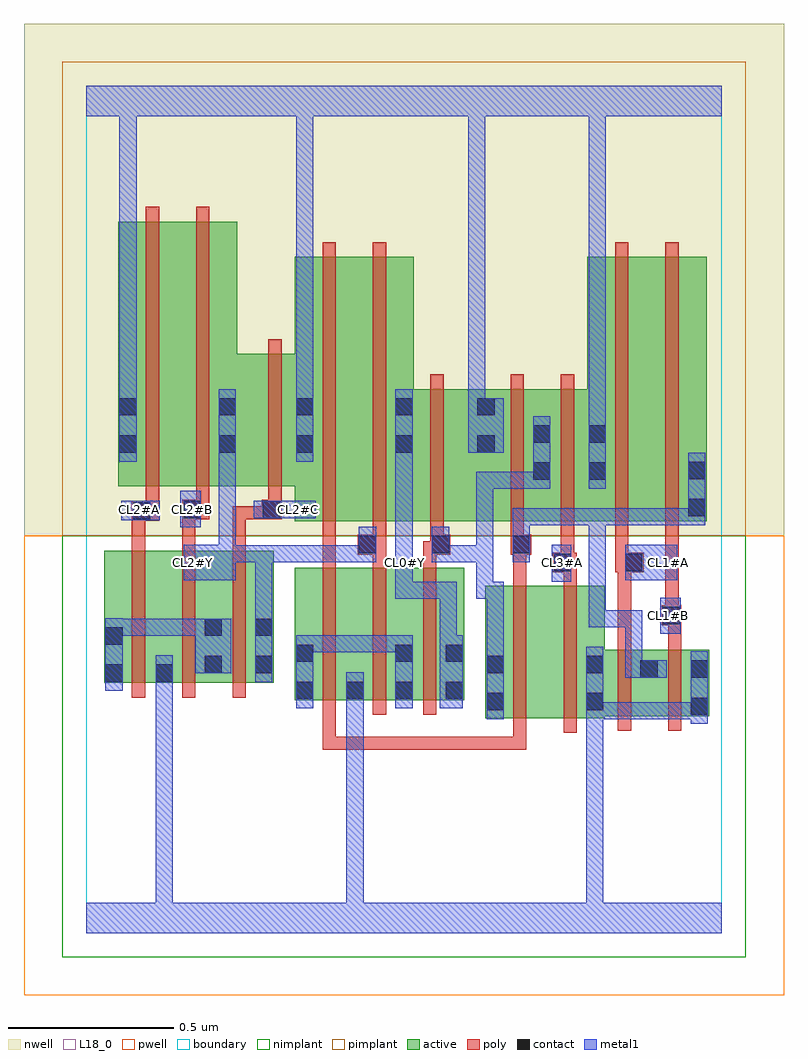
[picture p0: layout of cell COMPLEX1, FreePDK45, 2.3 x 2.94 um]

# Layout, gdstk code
import gdstk
lib = gdstk.Library(unit=1e-6, precision=1e-09)
def R(c, l, rs):  # rectangles x0, y0, x1, y1
    for r in rs: c.add(gdstk.rectangle(r[:2], r[2:], *l))
def A(c, l, x, y, w, h, nx, ny, dx, dy):  # array of equal rectangles
    R(c, l, [(x+i*dx, y+j*dy, x+i*dx+w, y+j*dy+h) for i in range(nx) for j in range(ny)])
active = (1, 0)
pwell = (2, 0)
nwell = (3, 0)
nimplant = (4, 0)
pimplant = (5, 0)
poly = (9, 0)
contact = (10, 0)
metal1 = (11, 0)
L18_0 = (18, 0)
boundary = (235, 0)

complex1 = lib.new_cell('COMPLEX1')
R(complex1, active, [(1.206,0.65,1.386,1.05), (1.206,0.65,1.266,1.05), (1.386,0.65,1.566,1.05), (1.506,0.656,1.73,0.856), (1.67,0.656,1.73,0.856), (1.67,0.656,1.882,0.856), (1.822,0.656,1.882,0.856), (1.506,0.67,1.566,0.856), (0.63,0.704,0.69,1.104), (0.63,0.704,0.842,1.104), (0.782,0.704,0.99,1.104), (0.782,0.704,0.842,0.764), (0.93,0.704,0.99,1.104), (0.93,0.704,1.142,1.104), (1.082,0.704,1.142,1.104), (0.054,0.756,0.114,1.156), (0.054,0.756,0.266,1.156), (0.206,0.756,0.414,1.156), (0.206,0.756,0.266,0.828), (0.354,0.756,0.414,1.156), (0.354,0.756,0.566,1.156), (0.506,0.756,0.566,1.156), (0.63,1.244,0.81,2.044), (0.81,1.244,0.99,2.044), (0.93,1.244,0.99,2.044), (0.93,1.244,1.238,1.644), (1.178,1.244,1.238,1.644), (1.178,1.244,1.406,1.644), (1.346,1.244,1.574,1.644), (1.514,1.244,1.574,2.044), (1.514,1.244,1.694,2.044), (1.694,1.244,1.874,2.044), (1.814,1.244,1.874,2.044), (0.096,1.35,0.156,2.15), (0.096,1.35,0.276,2.15), (0.276,1.35,0.456,2.15), (0.396,1.35,0.456,1.716), (0.396,1.35,0.69,1.75), (0.63,1.35,0.69,1.716), (1.346,1.366,1.406,1.644)])
R(complex1, pwell, [(-0.188,-0.188,2.108,1.2)])
R(complex1, nwell, [(-0.188,1.2,2.108,2.748)])
R(complex1, nimplant, [(-0.072,-0.072,1.992,1.2)])
R(complex1, pimplant, [(-0.072,1.2,1.992,2.632)])
A(complex1, poly, 0.714, 0.66, 0.04, 0.488, 3, 1, 0.152, 0)
A(complex1, poly, 0.138, 0.712, 0.04, 0.488, 3, 1, 0.152, 0)
A(complex1, poly, 0.714, 1.108, 0.04, 0.076, 3, 1, 0.152, 0)
R(complex1, poly, [(0.714,0.554,0.754,0.594), (0.714,0.554,0.754,0.594), (0.714,0.554,0.754,0.594), (0.714,0.554,0.86,0.594), (0.714,0.554,0.754,0.7), (0.82,0.554,0.86,0.594), (0.82,0.554,0.86,0.594), (0.82,0.554,0.86,0.594), (0.82,0.554,1.012,0.594), (0.972,0.554,1.012,0.594), (0.972,0.554,1.012,0.594), (0.972,0.554,1.012,0.594), (0.972,0.554,1.33,0.594), (1.29,0.554,1.33,0.594), (1.29,0.554,1.33,0.594), (1.29,0.554,1.33,0.594), (1.29,0.554,1.33,0.646), (1.29,0.606,1.33,1.094), (1.442,0.606,1.482,1.094), (1.606,0.612,1.646,0.9), (1.758,0.612,1.798,0.9), (1.606,0.86,1.646,1.13), (1.758,0.86,1.798,0.97), (1.738,0.93,1.798,0.99), (1.75,0.95,1.79,1.24), (1.75,0.95,1.79,0.99), (1.75,0.95,1.79,0.99), (1.29,1.054,1.33,1.184), (1.442,1.054,1.482,1.13), (1.41,1.09,1.482,1.15), (1.598,1.09,1.684,1.15), (1.606,1.09,1.646,1.13), (1.606,1.09,1.646,1.13), (1.434,1.11,1.474,1.15), (1.434,1.11,1.474,1.15), (1.434,1.11,1.474,1.24), (1.598,1.11,1.638,1.24), (0.714,1.144,0.754,1.184), (0.714,1.144,0.754,1.184), (0.714,1.144,0.754,1.184), (0.714,1.144,0.754,1.24), (0.82,1.144,0.906,1.204), (1.018,1.144,1.08,1.184), (1.04,1.144,1.08,1.184), (1.04,1.144,1.1,1.204), (1.282,1.144,1.344,1.204), (1.29,1.144,1.33,1.184), (1.29,1.144,1.33,1.184), (0.138,1.16,0.178,1.286), (0.29,1.16,0.33,1.29), (0.442,1.16,0.482,1.29), (0.866,1.164,0.906,1.204), (0.866,1.164,0.906,1.204), (0.866,1.164,0.906,1.24), (1.04,1.164,1.08,1.24), (1.282,1.164,1.322,1.24), (0.714,1.2,0.754,2.088), (0.866,1.2,0.906,2.088), (1.04,1.2,1.08,1.688), (1.282,1.2,1.322,1.688), (1.434,1.2,1.474,1.688), (1.598,1.2,1.638,2.088), (1.75,1.2,1.79,2.088), (0.138,1.246,0.178,1.286), (0.138,1.246,0.178,1.286), (0.138,1.246,0.22,1.306), (0.29,1.25,0.33,1.29), (0.29,1.25,0.33,1.29), (0.29,1.25,0.372,1.31), (0.442,1.25,0.57,1.29), (0.53,1.25,0.57,1.29), (0.53,1.25,0.59,1.31), (0.18,1.266,0.22,1.346), (0.332,1.27,0.372,1.346), (0.55,1.27,0.59,1.346), (0.18,1.306,0.22,2.194), (0.332,1.306,0.372,2.194), (0.55,1.306,0.59,1.794)])
R(complex1, contact, [(1.826,0.66,1.878,0.712), (1.21,0.674,1.262,0.726), (1.51,0.674,1.562,0.726), (0.634,0.708,0.686,0.76), (0.786,0.708,0.838,0.76), (0.934,0.708,0.986,0.76), (1.086,0.708,1.138,0.76), (0.058,0.76,0.11,0.812), (0.21,0.76,0.262,0.812), (1.674,0.772,1.726,0.824), (1.826,0.772,1.878,0.824), (0.358,0.786,0.41,0.838), (0.51,0.786,0.562,0.838), (1.21,0.786,1.262,0.838), (1.51,0.786,1.562,0.838), (0.634,0.82,0.686,0.872), (0.934,0.82,0.986,0.872), (1.086,0.82,1.138,0.872), (0.058,0.872,0.11,0.924), (0.358,0.898,0.41,0.95), (0.51,0.898,0.562,0.95), (1.742,0.934,1.794,0.986), (1.414,1.094,1.466,1.146), (1.628,1.094,1.68,1.146), (0.824,1.148,0.876,1.2), (1.044,1.148,1.096,1.2), (1.288,1.148,1.34,1.2), (0.142,1.25,0.194,1.302), (0.294,1.254,0.346,1.306), (0.534,1.254,0.586,1.306), (1.818,1.26,1.87,1.312), (1.35,1.37,1.402,1.422), (1.518,1.37,1.57,1.422), (1.818,1.372,1.87,1.424), (0.1,1.452,0.152,1.504), (0.4,1.452,0.452,1.504), (0.634,1.452,0.686,1.504), (0.934,1.452,0.986,1.504), (1.182,1.452,1.234,1.504), (1.35,1.482,1.402,1.534), (1.518,1.482,1.57,1.534), (0.1,1.564,0.152,1.616), (0.4,1.564,0.452,1.616), (0.634,1.564,0.686,1.616), (0.934,1.564,0.986,1.616), (1.182,1.564,1.234,1.616)])
R(complex1, metal1, [(0,0,1.92,0.092), (0.21,0.04,0.262,0.092), (0.21,0.04,0.262,0.092), (0.21,0.04,0.262,0.092), (0.21,0.04,0.262,0.092), (0.21,0.04,0.262,0.092), (0.21,0.04,0.262,0.092), (0.21,0.04,0.262,0.092), (0.21,0.04,0.262,0.092), (0.21,0.04,0.262,0.092), (0.21,0.04,0.262,0.092), (0.21,0.04,0.262,0.092), (0.21,0.04,0.262,0.092), (0.21,0.04,0.262,0.784), (0.786,0.04,0.838,0.092), (0.786,0.04,0.838,0.092), (0.786,0.04,0.838,0.092), (0.786,0.04,0.838,0.092), (0.786,0.04,0.838,0.092), (0.786,0.04,0.838,0.092), (0.786,0.04,0.838,0.092), (0.786,0.04,0.838,0.092), (0.786,0.04,0.838,0.092), (0.786,0.04,0.838,0.092), (0.786,0.04,0.838,0.092), (0.786,0.04,0.838,0.092), (0.786,0.04,0.838,0.732), (1.51,0.04,1.562,0.092), (1.51,0.04,1.562,0.092), (1.51,0.04,1.562,0.092), (1.51,0.04,1.562,0.092), (1.51,0.04,1.562,0.092), (1.51,0.04,1.562,0.092), (1.51,0.04,1.562,0.092), (1.51,0.04,1.562,0.092), (1.51,0.04,1.562,0.092), (1.51,0.04,1.562,0.092), (1.51,0.04,1.562,0.092), (1.51,0.04,1.562,0.092), (1.51,0.04,1.562,0.698), (1.826,0.632,1.878,0.852), (1.21,0.646,1.262,0.866), (1.51,0.646,1.562,0.866), (1.51,0.646,1.576,0.698), (1.524,0.646,1.576,0.698), (1.524,0.646,1.76,0.698), (1.708,0.646,1.76,0.698), (1.708,0.646,1.76,0.698), (1.708,0.646,1.76,0.698), (1.708,0.646,1.76,0.698), (1.708,0.646,1.76,0.698), (1.708,0.646,1.878,0.698), (1.826,0.646,1.878,0.698), (1.826,0.646,1.878,0.698), (0.634,0.68,0.686,0.9), (0.786,0.68,0.838,0.788), (0.934,0.68,0.986,0.9), (1.068,0.68,1.138,0.9), (0.058,0.732,0.11,0.952), (0.21,0.732,0.262,0.84), (0.51,0.758,0.562,0.978), (1.628,0.772,1.68,0.976), (1.628,0.772,1.754,0.824), (0.33,0.786,0.438,0.95), (1.21,0.814,1.262,1.062), (0.634,0.848,0.686,0.9), (0.634,0.848,0.686,0.9), (0.634,0.848,0.876,0.9), (0.824,0.848,0.986,0.9), (0.824,0.848,0.876,0.9), (0.824,0.848,0.876,0.9), (0.824,0.848,0.876,0.9), (1.068,0.848,1.12,1.062), (0.058,0.898,0.22,0.95), (0.058,0.898,0.11,0.95), (0.058,0.898,0.11,0.95), (0.168,0.898,0.22,0.95), (0.168,0.898,0.382,0.95), (0.33,0.898,0.382,0.95), (0.33,0.898,0.382,0.95), (1.734,0.904,1.796,1.014), (1.518,0.924,1.57,0.976), (1.518,0.924,1.576,0.976), (1.518,0.924,1.57,1.284), (1.524,0.924,1.576,0.976), (1.524,0.924,1.68,0.976), (1.628,0.924,1.68,0.976), (0.51,0.926,0.562,1.172), (0.934,1.01,0.986,1.062), (0.934,1.01,0.986,1.062), (0.934,1.01,1.12,1.062), (0.934,1.01,0.986,1.174), (1.068,1.01,1.12,1.062), (1.178,1.01,1.23,1.172), (1.178,1.01,1.262,1.062), (1.406,1.062,1.466,1.174), (0.294,1.066,0.452,1.174), (1.628,1.066,1.786,1.174), (0.4,1.12,0.562,1.172), (0.51,1.12,0.562,1.172), (0.51,1.12,0.562,1.172), (0.51,1.12,0.562,1.172), (0.51,1.12,0.728,1.172), (0.676,1.12,0.728,1.172), (0.676,1.12,0.728,1.172), (0.676,1.12,0.728,1.172), (0.676,1.12,0.876,1.172), (0.824,1.12,0.876,1.172), (0.824,1.12,0.876,1.172), (0.824,1.12,0.876,1.228), (1.044,1.12,1.096,1.172), (1.044,1.12,1.096,1.172), (1.044,1.12,1.096,1.228), (1.044,1.12,1.23,1.172), (1.178,1.12,1.23,1.172), (1.178,1.12,1.23,1.394), (1.288,1.12,1.34,1.228), (0.4,1.122,0.452,1.174), (0.4,1.122,0.452,1.174), (0.4,1.122,0.452,1.476), (0.934,1.122,0.986,1.476), (1.288,1.176,1.34,1.228), (1.288,1.176,1.34,1.284), (0.284,1.226,0.346,1.336), (1.288,1.232,1.45,1.284), (1.398,1.232,1.45,1.284), (1.398,1.232,1.57,1.284), (1.518,1.232,1.57,1.284), (1.518,1.232,1.57,1.284), (1.518,1.232,1.57,1.284), (1.518,1.232,1.576,1.284), (1.524,1.232,1.576,1.284), (1.524,1.232,1.76,1.284), (1.708,1.232,1.87,1.284), (1.708,1.232,1.76,1.284), (1.708,1.232,1.76,1.284), (1.708,1.232,1.76,1.284), (1.818,1.232,1.87,1.452), (0.106,1.248,0.222,1.306), (0.506,1.254,0.694,1.306), (1.178,1.342,1.23,1.394), (1.178,1.342,1.248,1.394), (1.196,1.342,1.248,1.394), (1.196,1.342,1.402,1.394), (1.35,1.342,1.402,1.562), (1.518,1.342,1.57,1.562), (0.1,1.424,0.152,1.644), (0.4,1.424,0.452,1.644), (0.634,1.424,0.686,1.644), (0.934,1.424,0.986,1.644), (0.934,1.424,0.986,1.476), (0.934,1.424,0.986,1.476), (1.154,1.452,1.262,1.616), (1.518,1.51,1.57,2.52), (1.154,1.564,1.206,1.616), (1.154,1.564,1.206,1.616), (1.154,1.564,1.206,1.616), (1.154,1.564,1.206,1.616), (1.154,1.564,1.206,1.616), (1.154,1.564,1.206,1.616), (1.154,1.564,1.206,1.616), (1.154,1.564,1.206,1.616), (1.154,1.564,1.206,1.616), (1.154,1.564,1.206,1.616), (1.154,1.564,1.206,2.52), (0.1,1.592,0.152,1.644), (0.1,1.592,0.152,1.644), (0.1,1.592,0.152,1.644), (0.1,1.592,0.152,1.644), (0.1,1.592,0.152,2.52), (0.634,1.592,0.686,1.644), (0.634,1.592,0.686,1.644), (0.634,1.592,0.686,1.644), (0.634,1.592,0.686,1.644), (0.634,1.592,0.686,2.52), (0,2.468,1.92,2.56), (0.1,2.468,0.152,2.52), (0.1,2.468,0.152,2.52), (0.1,2.468,0.152,2.52), (0.1,2.468,0.152,2.52), (0.634,2.468,0.686,2.52), (0.634,2.468,0.686,2.52), (0.634,2.468,0.686,2.52), (0.634,2.468,0.686,2.52), (1.154,2.468,1.206,2.52), (1.154,2.468,1.206,2.52), (1.154,2.468,1.206,2.52), (1.154,2.468,1.206,2.52), (1.154,2.468,1.206,2.52), (1.154,2.468,1.206,2.52), (1.518,2.468,1.57,2.52), (1.518,2.468,1.57,2.52), (1.518,2.468,1.57,2.52), (1.518,2.468,1.57,2.52), (1.518,2.468,1.57,2.52), (1.518,2.468,1.57,2.52), (1.518,2.468,1.57,2.52), (1.518,2.468,1.57,2.52)])
R(complex1, L18_0, [(0,0,1.92,0.092), (0.21,0.04,0.262,0.092), (0.21,0.04,0.262,0.092), (0.21,0.04,0.262,0.092), (0.21,0.04,0.262,0.092), (0.21,0.04,0.262,0.092), (0.21,0.04,0.262,0.092), (0.21,0.04,0.262,0.092), (0.21,0.04,0.262,0.092), (0.21,0.04,0.262,0.092), (0.21,0.04,0.262,0.092), (0.21,0.04,0.262,0.092), (0.21,0.04,0.262,0.092), (0.21,0.04,0.262,0.784), (0.786,0.04,0.838,0.092), (0.786,0.04,0.838,0.092), (0.786,0.04,0.838,0.092), (0.786,0.04,0.838,0.092), (0.786,0.04,0.838,0.092), (0.786,0.04,0.838,0.092), (0.786,0.04,0.838,0.092), (0.786,0.04,0.838,0.092), (0.786,0.04,0.838,0.092), (0.786,0.04,0.838,0.092), (0.786,0.04,0.838,0.092), (0.786,0.04,0.838,0.092), (0.786,0.04,0.838,0.732), (1.51,0.04,1.562,0.092), (1.51,0.04,1.562,0.092), (1.51,0.04,1.562,0.092), (1.51,0.04,1.562,0.092), (1.51,0.04,1.562,0.092), (1.51,0.04,1.562,0.092), (1.51,0.04,1.562,0.092), (1.51,0.04,1.562,0.092), (1.51,0.04,1.562,0.092), (1.51,0.04,1.562,0.092), (1.51,0.04,1.562,0.092), (1.51,0.04,1.562,0.092), (1.51,0.04,1.562,0.698), (1.826,0.632,1.878,0.852), (1.51,0.646,1.562,0.866), (1.51,0.646,1.576,0.698), (1.524,0.646,1.576,0.698), (1.524,0.646,1.76,0.698), (1.708,0.646,1.76,0.698), (1.708,0.646,1.76,0.698), (1.708,0.646,1.76,0.698), (1.708,0.646,1.76,0.698), (1.708,0.646,1.76,0.698), (1.708,0.646,1.878,0.698), (1.826,0.646,1.878,0.698), (1.826,0.646,1.878,0.698), (0.786,0.68,0.838,0.788), (1.068,0.68,1.138,0.9), (0.21,0.732,0.262,0.84), (0.51,0.758,0.562,0.978), (1.068,0.848,1.12,1.062), (1.734,0.904,1.796,1.014), (0.51,0.926,0.562,1.172), (1.734,0.934,1.786,0.986), (0.934,1.01,0.986,1.062), (0.934,1.01,0.986,1.062), (0.934,1.01,0.986,1.174), (0.934,1.01,1.12,1.062), (1.068,1.01,1.12,1.062), (1.406,1.062,1.466,1.174), (0.294,1.066,0.452,1.174), (1.628,1.066,1.786,1.174), (0.294,1.094,0.346,1.146), (0.934,1.094,0.986,1.146), (1.414,1.094,1.466,1.146), (1.734,1.094,1.786,1.146), (0.4,1.12,0.562,1.172), (0.51,1.12,0.562,1.172), (0.51,1.12,0.562,1.172), (0.51,1.12,0.562,1.172), (0.51,1.12,0.728,1.172), (0.676,1.12,0.728,1.172), (0.676,1.12,0.728,1.172), (0.676,1.12,0.728,1.172), (0.676,1.12,0.876,1.172), (0.824,1.12,0.876,1.172), (0.824,1.12,0.876,1.172), (0.824,1.12,0.876,1.228), (0.4,1.122,0.452,1.174), (0.4,1.122,0.452,1.174), (0.4,1.122,0.452,1.476), (0.934,1.122,0.986,1.476), (0.284,1.226,0.346,1.336), (0.106,1.248,0.222,1.306), (0.134,1.254,0.186,1.306), (0.294,1.254,0.346,1.306), (0.506,1.254,0.694,1.306), (0.614,1.254,0.666,1.306), (1.518,1.342,1.57,1.562), (0.1,1.424,0.152,1.644), (0.4,1.424,0.452,1.644), (0.634,1.424,0.686,1.644), (0.934,1.424,0.986,1.644), (0.934,1.424,0.986,1.476), (0.934,1.424,0.986,1.476), (1.154,1.452,1.262,1.616), (1.518,1.51,1.57,2.52), (1.154,1.564,1.206,1.616), (1.154,1.564,1.206,1.616), (1.154,1.564,1.206,1.616), (1.154,1.564,1.206,1.616), (1.154,1.564,1.206,1.616), (1.154,1.564,1.206,1.616), (1.154,1.564,1.206,1.616), (1.154,1.564,1.206,1.616), (1.154,1.564,1.206,1.616), (1.154,1.564,1.206,1.616), (1.154,1.564,1.206,2.52), (0.1,1.592,0.152,1.644), (0.1,1.592,0.152,1.644), (0.1,1.592,0.152,1.644), (0.1,1.592,0.152,1.644), (0.1,1.592,0.152,2.52), (0.634,1.592,0.686,1.644), (0.634,1.592,0.686,1.644), (0.634,1.592,0.686,1.644), (0.634,1.592,0.686,1.644), (0.634,1.592,0.686,2.52), (0,2.468,1.92,2.56), (0.1,2.468,0.152,2.52), (0.1,2.468,0.152,2.52), (0.1,2.468,0.152,2.52), (0.1,2.468,0.152,2.52), (0.634,2.468,0.686,2.52), (0.634,2.468,0.686,2.52), (0.634,2.468,0.686,2.52), (0.634,2.468,0.686,2.52), (1.154,2.468,1.206,2.52), (1.154,2.468,1.206,2.52), (1.154,2.468,1.206,2.52), (1.154,2.468,1.206,2.52), (1.154,2.468,1.206,2.52), (1.154,2.468,1.206,2.52), (1.518,2.468,1.57,2.52), (1.518,2.468,1.57,2.52), (1.518,2.468,1.57,2.52), (1.518,2.468,1.57,2.52), (1.518,2.468,1.57,2.52), (1.518,2.468,1.57,2.52), (1.518,2.468,1.57,2.52), (1.518,2.468,1.57,2.52)])
R(complex1, boundary, [(0,0,1.92,2.56)])
complex1.add(gdstk.Label('CL0#Y', (0.96,1.12), layer=11, texttype=0))
complex1.add(gdstk.Label('CL1#A', (1.76,1.12), layer=11, texttype=0))
complex1.add(gdstk.Label('CL1#B', (1.76,0.96), layer=11, texttype=0))
complex1.add(gdstk.Label('CL2#A', (0.16,1.28), layer=11, texttype=0))
complex1.add(gdstk.Label('CL2#B', (0.32,1.28), layer=11, texttype=0))
complex1.add(gdstk.Label('CL2#C', (0.64,1.28), layer=11, texttype=0))
complex1.add(gdstk.Label('CL2#Y', (0.32,1.12), layer=11, texttype=0))
complex1.add(gdstk.Label('CL3#A', (1.44,1.12), layer=11, texttype=0))

lib.write_gds('COMPLEX1.gds')
